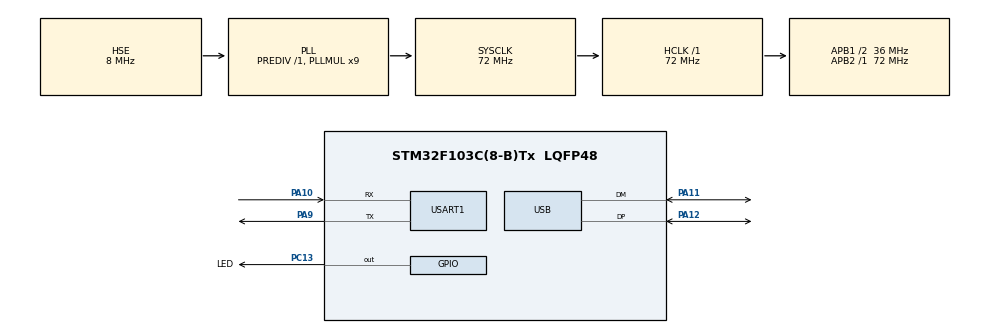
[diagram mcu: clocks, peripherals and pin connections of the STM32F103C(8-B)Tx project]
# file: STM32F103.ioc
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Mcu.Family=STM32F1
Mcu.Name=STM32F103C(8-B)Tx
Mcu.Package=LQFP48
NVIC.PriorityGroup=NVIC_PRIORITYGROUP_4
NVIC.TIM1_UP_IRQn=true\:0\:0\:false\:false\:true\:false
NVIC.TimeBase=TIM1_UP_IRQn
NVIC.TimeBaseIP=TIM1
NVIC.USART1_IRQn=true\:6\:0\:true\:false\:true\:true
NVIC.USB_LP_CAN1_RX0_IRQn=true\:7\:0\:true\:false\:true\:false
PA10.Mode=Asynchronous
PA10.Signal=USART1_RX
PA11.Mode=Device
PA11.Signal=USB_DM
PA12.Mode=Device
PA12.Signal=USB_DP
PA9.Mode=Asynchronous
PA9.Signal=USART1_TX
PC13-TAMPER-RTC.GPIO_Label=LED
PC13-TAMPER-RTC.Signal=GPIO_Output
PD0-OSC_IN.Mode=HSE-External-Oscillator
PD0-OSC_IN.Signal=RCC_OSC_IN
PD1-OSC_OUT.Mode=HSE-External-Oscillator
PD1-OSC_OUT.Signal=RCC_OSC_OUT
ProjectManager.HeapSize=0x1000
ProjectManager.StackSize=0x2000
ProjectManager.TargetToolchain=SW4STM32
RCC.AHBFreq_Value=72000000
RCC.APB1CLKDivider=RCC_HCLK_DIV2
RCC.APB1Freq_Value=36000000
RCC.APB1TimFreq_Value=72000000
RCC.APB2Freq_Value=72000000
RCC.APB2TimFreq_Value=72000000
RCC.EnbaleCSS=true
RCC.HCLKFreq_Value=72000000
RCC.PLLMUL=RCC_PLL_MUL9
RCC.PLLSourceVirtual=RCC_PLLSOURCE_HSE
RCC.SYSCLKFreq_VALUE=72000000
RCC.SYSCLKSource=RCC_SYSCLKSOURCE_PLLCLK
RCC.USBFreq_Value=48000000
RCC.USBPrescaler=RCC_USBCLKSOURCE_PLL_DIV1_5
USART1.VirtualMode=VM_ASYNC
USB_DEVICE.CLASS_NAME_FS=CDC
USB_DEVICE.VirtualMode=Cdc
USB_DEVICE.VirtualModeFS=Cdc_FS
VP_SYS_VS_ND.Mode=No_Debug
VP_SYS_VS_tim1.Mode=TIM1
VP_USB_DEVICE_VS_USB_DEVICE_CDC_FS.Mode=CDC_FS
board=STM32F103

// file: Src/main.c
/**
 ******************************************************************************
 * File Name          : main.c
 * Description        : Main program body
 ******************************************************************************
 * This notice applies to any and all portions of this file
 * that are not between comment pairs USER CODE BEGIN and
 * USER CODE END. Other portions of this file, whether
 * inserted by the user or by software development tools
 * are owned by their respective copyright owners.
 *
 * Copyright (c) 2017 STMicroelectronics International N.V.
 * All rights reserved.
 *
 * Redistribution and use in source and binary forms, with or without
 * modification, are permitted, provided that the following conditions are met:
 *
 * 1. Redistribution of source code must retain the above copyright notice,
 *    this list of conditions and the following disclaimer.
 * 2. Redistributions in binary form must reproduce the above copyright notice,
 *    this list of conditions and the following disclaimer in the documentation
 *    and/or other materials provided with the distribution.
 * 3. Neither the name of STMicroelectronics nor the names of other
 *    contributors to this software may be used to endorse or promote products
 *    derived from this software without specific written permission.
 * 4. This software, including modifications and/or derivative works of this
 *    software, must execute solely and exclusively on microcontroller or
 *    microprocessor devices manufactured by or for STMicroelectronics.
 * 5. Redistribution and use of this software other than as permitted under
 *    this license is void and will automatically terminate your rights under
 *    this license.
 *
 * THIS SOFTWARE IS PROVIDED BY STMICROELECTRONICS AND CONTRIBUTORS "AS IS"
 * AND ANY EXPRESS, IMPLIED OR STATUTORY WARRANTIES, INCLUDING, BUT NOT
 * LIMITED TO, THE IMPLIED WARRANTIES OF MERCHANTABILITY, FITNESS FOR A
 * PARTICULAR PURPOSE AND NON-INFRINGEMENT OF THIRD PARTY INTELLECTUAL PROPERTY
 * RIGHTS ARE DISCLAIMED TO THE FULLEST EXTENT PERMITTED BY LAW. IN NO EVENT
 * SHALL STMICROELECTRONICS OR CONTRIBUTORS BE LIABLE FOR ANY DIRECT, INDIRECT,
 * INCIDENTAL, SPECIAL, EXEMPLARY, OR CONSEQUENTIAL DAMAGES (INCLUDING, BUT NOT
 * LIMITED TO, PROCUREMENT OF SUBSTITUTE GOODS OR SERVICES; LOSS OF USE, DATA,
 * OR PROFITS; OR BUSINESS INTERRUPTION) HOWEVER CAUSED AND ON ANY THEORY OF
 * LIABILITY, WHETHER IN CONTRACT, STRICT LIABILITY, OR TORT (INCLUDING
 * NEGLIGENCE OR OTHERWISE) ARISING IN ANY WAY OUT OF THE USE OF THIS SOFTWARE,
 * EVEN IF ADVISED OF THE POSSIBILITY OF SUCH DAMAGE.
 *
 ******************************************************************************
 */
#include "main.h"
#include "stm32f1xx_hal.h"
#include "usart.h"
#include "usb_device.h"
#include "gpio.h"

/* USER CODE BEGIN Includes */
#include "usbd_cdc_if.h"
/* USER CODE END Includes */

/* USER CODE BEGIN PV */
/* Private variables ---------------------------------------------------------*/
uint8_t UART_RxData;
uint8_t USB_TxBuff[2];
/* USER CODE END PV */

void SystemClock_Config(void);

/* USER CODE BEGIN PFP */
/* Private function prototypes -----------------------------------------------*/
void USB_Rx(uint8_t* Buff, uint32_t Len);
/* USER CODE END PFP */

/* USER CODE BEGIN 0 */
uint8_t UARTblock = 1;
uint8_t USBblock = 1;
uint8_t *ptr;
/* USER CODE END 0 */

int main(void)
{

	/* MCU Configuration----------------------------------------------------------*/

	/* Reset of all peripherals, Initializes the Flash interface and the Systick. */
	HAL_Init();

	/* Configure the system clock */
	SystemClock_Config();

	/* USER CODE BEGIN SysInit */
	CDC_SetReceiveCallbackFunction(USB_Rx);
	/* USER CODE END SysInit */

	/* Initialize all configured peripherals */
	MX_GPIO_Init();
	MX_USB_DEVICE_Init();
	MX_USART1_UART_Init();

	/* USER CODE BEGIN 2 */
	HAL_UART_Receive_IT(&huart1,&UART_RxData,1);
	HAL_GPIO_TogglePin(LED_GPIO_Port,LED_Pin);
	/* USER CODE END 2 */

	/* Infinite loop */
	while (1)
	{

		/* USER CODE BEGIN 3 */

		if(UARTblock == 0) {
			USB_TxBuff[1] = USB_TxBuff[0];
			if(CDC_Transmit_FS(&USB_TxBuff[1],1) == USBD_OK ){

				UARTblock = 1;
				HAL_UART_Receive_IT(&huart1,&UART_RxData,1);
			}
		}

		if(USBblock == 0) {
			USBblock = 1;
			USBD_CDC_SetRxBuffer(&hUsbDeviceFS,ptr);
			USBD_CDC_ReceivePacket(&hUsbDeviceFS);

		}

	}
	/* USER CODE END 3 */

}

/** System Clock Configuration
 */
void SystemClock_Config(void)
{

	RCC_OscInitTypeDef RCC_OscInitStruct;
	RCC_ClkInitTypeDef RCC_ClkInitStruct;
	RCC_PeriphCLKInitTypeDef PeriphClkInit;

	/**Initializes the CPU, AHB and APB busses clocks
	 */
	RCC_OscInitStruct.OscillatorType = RCC_OSCILLATORTYPE_HSE;
	RCC_OscInitStruct.HSEState = RCC_HSE_ON;
	RCC_OscInitStruct.HSEPredivValue = RCC_HSE_PREDIV_DIV1;
	RCC_OscInitStruct.HSIState = RCC_HSI_ON;
	RCC_OscInitStruct.PLL.PLLState = RCC_PLL_ON;
	RCC_OscInitStruct.PLL.PLLSource = RCC_PLLSOURCE_HSE;
	RCC_OscInitStruct.PLL.PLLMUL = RCC_PLL_MUL9;
	if (HAL_RCC_OscConfig(&RCC_OscInitStruct) != HAL_OK)
	{
		_Error_Handler(__FILE__, __LINE__);
	}

	/**Initializes the CPU, AHB and APB busses clocks
	 */
	RCC_ClkInitStruct.ClockType = RCC_CLOCKTYPE_HCLK|RCC_CLOCKTYPE_SYSCLK
			|RCC_CLOCKTYPE_PCLK1|RCC_CLOCKTYPE_PCLK2;
	RCC_ClkInitStruct.SYSCLKSource = RCC_SYSCLKSOURCE_PLLCLK;
	RCC_ClkInitStruct.AHBCLKDivider = RCC_SYSCLK_DIV1;
	RCC_ClkInitStruct.APB1CLKDivider = RCC_HCLK_DIV2;
	RCC_ClkInitStruct.APB2CLKDivider = RCC_HCLK_DIV1;

	if (HAL_RCC_ClockConfig(&RCC_ClkInitStruct, FLASH_LATENCY_2) != HAL_OK)
	{
		_Error_Handler(__FILE__, __LINE__);
	}

	PeriphClkInit.PeriphClockSelection = RCC_PERIPHCLK_USB;
	PeriphClkInit.UsbClockSelection = RCC_USBCLKSOURCE_PLL_DIV1_5;
	if (HAL_RCCEx_PeriphCLKConfig(&PeriphClkInit) != HAL_OK)
	{
		_Error_Handler(__FILE__, __LINE__);
	}

	/**Enables the Clock Security System
	 */
	HAL_RCC_EnableCSS();

	/**Configure the Systick interrupt time
	 */
	HAL_SYSTICK_Config(HAL_RCC_GetHCLKFreq()/1000);

	/**Configure the Systick
	 */
	HAL_SYSTICK_CLKSourceConfig(SYSTICK_CLKSOURCE_HCLK);

	/* SysTick_IRQn interrupt configuration */
	HAL_NVIC_SetPriority(SysTick_IRQn, 0, 0);
}

/* USER CODE BEGIN 4 */

void HAL_UART_RxCpltCallback (UART_HandleTypeDef * huart){

	USB_TxBuff[0] = UART_RxData;
	UARTblock = 0;

}

void HAL_UART_TxCpltCallback (UART_HandleTypeDef * huart){

	USBblock = 0;

}

void USB_Rx(uint8_t* Buff, uint32_t Len){

	ptr = Buff;
	HAL_UART_Transmit_IT(&huart1,Buff,Len);
}
/* USER CODE END 4 */

void HAL_TIM_PeriodElapsedCallback(TIM_HandleTypeDef *htim)
{
	if (htim->Instance == TIM1) {
		HAL_IncTick();
	}
}

void _Error_Handler(char * file, int line)
{
	while(1)
	{
	}
}

/************************ (C) COPYRIGHT STMicroelectronics *****END OF FILE****/
